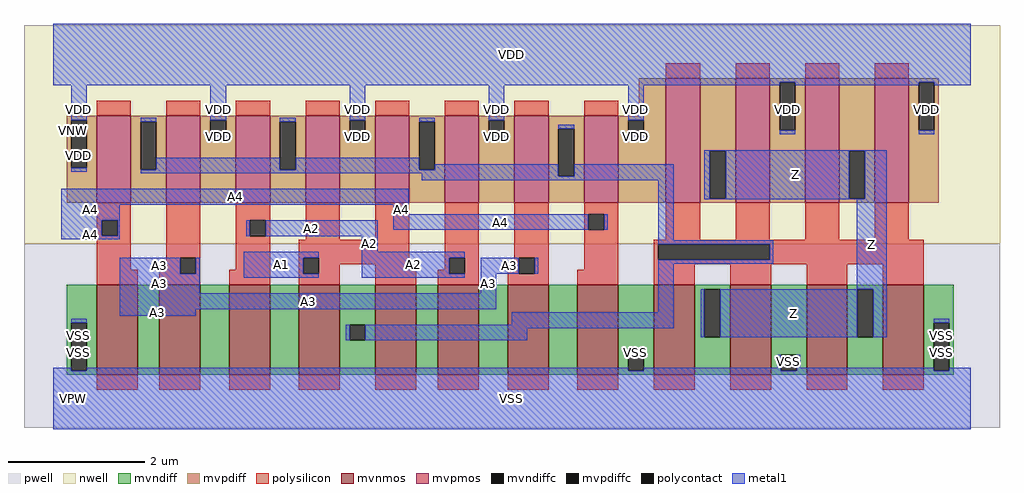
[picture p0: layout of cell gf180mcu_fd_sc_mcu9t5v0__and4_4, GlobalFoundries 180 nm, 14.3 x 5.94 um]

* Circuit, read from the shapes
.subckt gf180mcu_fd_sc_mcu9t5v0__and4_4 A1 A2 A3 A4 Z VDD VNW VPW VSS
XM1 n1 A4 VSS VPW nfet_06v0 w=1.32u l=0.6u
XM2 n2 A3 n1 VPW nfet_06v0 w=1.32u l=0.6u
XM3 n3 A2 n2 VPW nfet_06v0 w=1.32u l=0.6u
XM4 n4 A1 n3 VPW nfet_06v0 w=1.32u l=0.6u
XM5 n5 A1 n4 VPW nfet_06v0 w=1.32u l=0.6u
XM6 n6 A2 n5 VPW nfet_06v0 w=1.32u l=0.6u
XM7 n7 A3 n6 VPW nfet_06v0 w=1.32u l=0.6u
XM8 VSS A4 n7 VPW nfet_06v0 w=1.32u l=0.6u
XM9 Z n4 VSS VPW nfet_06v0 w=1.32u l=0.6u m=4
XM10 n4 A4 VDD VNW pfet_06v0 w=1.28u l=0.5u m=2
XM11 VDD A3 n4 VNW pfet_06v0 w=1.28u l=0.5u m=2
XM12 n4 A2 VDD VNW pfet_06v0 w=1.28u l=0.5u m=2
XM13 VDD A1 n4 VNW pfet_06v0 w=1.28u l=0.5u m=2
XM14 Z n4 VDD VNW pfet_06v0 w=1.83u l=0.5u m=4
.ends

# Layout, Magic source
magic
tech gf180mcuD
magscale 1 10
<< nwell >>
rect -86 453 2774 1094
<< pwell >>
rect -86 -86 2774 453
<< mvnmos >>
rect 127 69 247 333
rect 311 69 431 333
rect 515 69 635 333
rect 719 69 839 333
rect 943 69 1063 333
rect 1127 69 1247 333
rect 1331 69 1451 333
rect 1535 69 1655 333
rect 1759 69 1879 333
rect 1983 69 2103 333
rect 2207 69 2327 333
rect 2431 69 2551 333
<< mvpmos >>
rect 127 573 227 829
rect 331 573 431 829
rect 535 573 635 829
rect 739 573 839 829
rect 943 573 1043 829
rect 1147 573 1247 829
rect 1351 573 1451 829
rect 1555 573 1655 829
rect 1795 573 1895 939
rect 1999 573 2099 939
rect 2203 573 2303 939
rect 2407 573 2507 939
<< mvndiff >>
rect 39 222 127 333
rect 39 82 52 222
rect 98 82 127 222
rect 39 69 127 82
rect 247 69 311 333
rect 431 69 515 333
rect 635 69 719 333
rect 839 216 943 333
rect 839 170 868 216
rect 914 170 943 216
rect 839 69 943 170
rect 1063 69 1127 333
rect 1247 69 1331 333
rect 1451 69 1535 333
rect 1655 128 1759 333
rect 1655 82 1684 128
rect 1730 82 1759 128
rect 1655 69 1759 82
rect 1879 320 1983 333
rect 1879 180 1908 320
rect 1954 180 1983 320
rect 1879 69 1983 180
rect 2103 128 2207 333
rect 2103 82 2132 128
rect 2178 82 2207 128
rect 2103 69 2207 82
rect 2327 320 2431 333
rect 2327 180 2356 320
rect 2402 180 2431 320
rect 2327 69 2431 180
rect 2551 222 2639 333
rect 2551 82 2580 222
rect 2626 82 2639 222
rect 2551 69 2639 82
<< mvpdiff >>
rect 1715 829 1795 939
rect 39 816 127 829
rect 39 676 52 816
rect 98 676 127 816
rect 39 573 127 676
rect 227 811 331 829
rect 227 671 256 811
rect 302 671 331 811
rect 227 573 331 671
rect 431 816 535 829
rect 431 770 460 816
rect 506 770 535 816
rect 431 573 535 770
rect 635 811 739 829
rect 635 671 664 811
rect 710 671 739 811
rect 635 573 739 671
rect 839 816 943 829
rect 839 770 868 816
rect 914 770 943 816
rect 839 573 943 770
rect 1043 811 1147 829
rect 1043 671 1072 811
rect 1118 671 1147 811
rect 1043 573 1147 671
rect 1247 816 1351 829
rect 1247 770 1276 816
rect 1322 770 1351 816
rect 1247 573 1351 770
rect 1451 791 1555 829
rect 1451 651 1480 791
rect 1526 651 1555 791
rect 1451 573 1555 651
rect 1655 816 1795 829
rect 1655 770 1684 816
rect 1730 770 1795 816
rect 1655 573 1795 770
rect 1895 726 1999 939
rect 1895 586 1924 726
rect 1970 586 1999 726
rect 1895 573 1999 586
rect 2099 926 2203 939
rect 2099 786 2128 926
rect 2174 786 2203 926
rect 2099 573 2203 786
rect 2303 726 2407 939
rect 2303 586 2332 726
rect 2378 586 2407 726
rect 2303 573 2407 586
rect 2507 926 2595 939
rect 2507 786 2536 926
rect 2582 786 2595 926
rect 2507 573 2595 786
<< mvndiffc >>
rect 52 82 98 222
rect 868 170 914 216
rect 1684 82 1730 128
rect 1908 180 1954 320
rect 2132 82 2178 128
rect 2356 180 2402 320
rect 2580 82 2626 222
<< mvpdiffc >>
rect 52 676 98 816
rect 256 671 302 811
rect 460 770 506 816
rect 664 671 710 811
rect 868 770 914 816
rect 1072 671 1118 811
rect 1276 770 1322 816
rect 1480 651 1526 791
rect 1684 770 1730 816
rect 1924 586 1970 726
rect 2128 786 2174 926
rect 2332 586 2378 726
rect 2536 786 2582 926
<< polysilicon >>
rect 1795 939 1895 983
rect 1999 939 2099 983
rect 2203 939 2303 983
rect 2407 939 2507 983
rect 127 829 227 873
rect 331 829 431 873
rect 535 829 635 873
rect 739 829 839 873
rect 943 829 1043 873
rect 1147 829 1247 873
rect 1351 829 1451 873
rect 1555 829 1655 873
rect 127 523 227 573
rect 127 477 142 523
rect 188 477 227 523
rect 127 377 227 477
rect 331 412 431 573
rect 331 377 372 412
rect 127 333 247 377
rect 311 366 372 377
rect 418 366 431 412
rect 535 522 635 573
rect 535 476 576 522
rect 622 476 635 522
rect 535 377 635 476
rect 739 465 839 573
rect 943 465 1043 573
rect 311 333 431 366
rect 515 333 635 377
rect 719 412 1043 465
rect 719 366 732 412
rect 778 393 1043 412
rect 778 366 839 393
rect 719 333 839 366
rect 943 377 1043 393
rect 1147 412 1247 573
rect 1147 377 1160 412
rect 943 333 1063 377
rect 1127 366 1160 377
rect 1206 366 1247 412
rect 1351 412 1451 573
rect 1351 377 1364 412
rect 1127 333 1247 366
rect 1331 366 1364 377
rect 1410 366 1451 412
rect 1555 540 1655 573
rect 1555 494 1568 540
rect 1614 494 1655 540
rect 1555 377 1655 494
rect 1795 465 1895 573
rect 1999 465 2099 573
rect 2203 465 2303 573
rect 2407 465 2507 573
rect 1331 333 1451 366
rect 1535 333 1655 377
rect 1759 452 2551 465
rect 1759 406 1772 452
rect 2100 406 2551 452
rect 1759 393 2551 406
rect 1759 333 1879 393
rect 1983 333 2103 393
rect 2207 333 2327 393
rect 2431 333 2551 393
rect 127 25 247 69
rect 311 25 431 69
rect 515 25 635 69
rect 719 25 839 69
rect 943 25 1063 69
rect 1127 25 1247 69
rect 1331 25 1451 69
rect 1535 25 1655 69
rect 1759 25 1879 69
rect 1983 25 2103 69
rect 2207 25 2327 69
rect 2431 25 2551 69
<< polycontact >>
rect 142 477 188 523
rect 372 366 418 412
rect 576 476 622 522
rect 732 366 778 412
rect 1160 366 1206 412
rect 1364 366 1410 412
rect 1568 494 1614 540
rect 1772 406 2100 452
<< metal1 >>
rect 0 926 2688 1098
rect 0 918 2128 926
rect 52 816 98 918
rect 52 665 98 676
rect 256 811 302 822
rect 460 816 506 918
rect 460 759 506 770
rect 664 811 710 822
rect 302 671 664 706
rect 868 816 914 918
rect 868 759 914 770
rect 1072 811 1118 822
rect 710 671 1072 706
rect 1276 816 1322 918
rect 1684 816 1730 918
rect 1276 759 1322 770
rect 1480 791 1526 802
rect 1118 671 1480 686
rect 256 660 1480 671
rect 1080 651 1480 660
rect 2174 918 2536 926
rect 2128 775 2174 786
rect 2582 918 2688 926
rect 2536 775 2582 786
rect 1684 759 1730 770
rect 1908 726 2442 728
rect 1526 651 1818 686
rect 1080 640 1818 651
rect 23 568 1042 614
rect 23 523 194 568
rect 23 477 142 523
rect 188 477 194 523
rect 996 540 1042 568
rect 23 466 194 477
rect 565 476 576 522
rect 622 476 950 522
rect 996 494 1568 540
rect 1614 494 1625 540
rect 904 430 950 476
rect 1772 463 1818 640
rect 1908 586 1924 726
rect 1970 586 2332 726
rect 2378 586 2442 726
rect 1908 584 2442 586
rect 1772 452 2110 463
rect 558 412 778 430
rect 195 366 372 412
rect 418 366 429 412
rect 195 308 429 366
rect 558 366 732 412
rect 558 354 778 366
rect 904 412 1206 430
rect 904 366 1160 412
rect 904 354 1206 366
rect 1252 366 1364 412
rect 1410 366 1421 412
rect 2100 406 2110 452
rect 1772 395 2110 406
rect 1252 308 1298 366
rect 195 262 1298 308
rect 195 242 418 262
rect 1772 252 1818 395
rect 2354 320 2442 584
rect 52 222 98 233
rect 0 82 52 90
rect 1343 216 1818 252
rect 857 170 868 216
rect 914 206 1818 216
rect 914 170 1388 206
rect 1897 180 1908 320
rect 1954 180 2356 320
rect 2402 180 2442 320
rect 2580 222 2626 233
rect 1684 128 1730 139
rect 98 82 1684 90
rect 2121 90 2132 128
rect 1730 82 2132 90
rect 2178 90 2189 128
rect 2178 82 2580 90
rect 2626 82 2688 90
rect 0 -90 2688 82
<< labels >>
flabel metal1 s 558 354 778 430 0 FreeSans 200 0 0 0 A1
port 1 nsew default input
flabel metal1 s 565 476 950 522 0 FreeSans 200 0 0 0 A2
port 2 nsew default input
flabel metal1 s 1252 366 1421 412 0 FreeSans 200 0 0 0 A3
port 3 nsew default input
flabel metal1 s 23 568 1042 614 0 FreeSans 200 0 0 0 A4
port 4 nsew default input
flabel metal1 s 0 918 2688 1098 0 FreeSans 200 0 0 0 VDD
port 6 nsew power bidirectional abutment
flabel metal1 s 2580 139 2626 233 0 FreeSans 200 0 0 0 VSS
port 9 nsew ground bidirectional abutment
flabel metal1 s 1908 584 2442 728 0 FreeSans 200 0 0 0 Z
port 5 nsew default output
flabel nwell s 10 734 110 834 0 FreeSans 400 0 0 0 VNW
port 7 nsew power bidirectional
flabel pwell s 10 -50 110 50 0 FreeSans 400 0 0 0 VPW
port 8 nsew ground bidirectional
rlabel metal1 s 904 430 950 476 1 A2
port 2 nsew default input
rlabel metal1 s 904 354 1206 430 1 A2
port 2 nsew default input
rlabel metal1 s 195 366 429 412 1 A3
port 3 nsew default input
rlabel metal1 s 1252 308 1298 366 1 A3
port 3 nsew default input
rlabel metal1 s 195 308 429 366 1 A3
port 3 nsew default input
rlabel metal1 s 195 262 1298 308 1 A3
port 3 nsew default input
rlabel metal1 s 195 242 418 262 1 A3
port 3 nsew default input
rlabel metal1 s 996 540 1042 568 1 A4
port 4 nsew default input
rlabel metal1 s 23 540 194 568 1 A4
port 4 nsew default input
rlabel metal1 s 996 494 1625 540 1 A4
port 4 nsew default input
rlabel metal1 s 23 494 194 540 1 A4
port 4 nsew default input
rlabel metal1 s 23 466 194 494 1 A4
port 4 nsew default input
rlabel metal1 s 2354 320 2442 584 1 Z
port 5 nsew default output
rlabel metal1 s 1897 180 2442 320 1 Z
port 5 nsew default output
rlabel metal1 s 2536 775 2582 918 1 VDD
port 6 nsew power bidirectional abutment
rlabel metal1 s 2128 775 2174 918 1 VDD
port 6 nsew power bidirectional abutment
rlabel metal1 s 1684 775 1730 918 1 VDD
port 6 nsew power bidirectional abutment
rlabel metal1 s 1276 775 1322 918 1 VDD
port 6 nsew power bidirectional abutment
rlabel metal1 s 868 775 914 918 1 VDD
port 6 nsew power bidirectional abutment
rlabel metal1 s 460 775 506 918 1 VDD
port 6 nsew power bidirectional abutment
rlabel metal1 s 52 775 98 918 1 VDD
port 6 nsew power bidirectional abutment
rlabel metal1 s 1684 759 1730 775 1 VDD
port 6 nsew power bidirectional abutment
rlabel metal1 s 1276 759 1322 775 1 VDD
port 6 nsew power bidirectional abutment
rlabel metal1 s 868 759 914 775 1 VDD
port 6 nsew power bidirectional abutment
rlabel metal1 s 460 759 506 775 1 VDD
port 6 nsew power bidirectional abutment
rlabel metal1 s 52 759 98 775 1 VDD
port 6 nsew power bidirectional abutment
rlabel metal1 s 52 665 98 759 1 VDD
port 6 nsew power bidirectional abutment
rlabel metal1 s 52 139 98 233 1 VSS
port 9 nsew ground bidirectional abutment
rlabel metal1 s 2580 128 2626 139 1 VSS
port 9 nsew ground bidirectional abutment
rlabel metal1 s 1684 128 1730 139 1 VSS
port 9 nsew ground bidirectional abutment
rlabel metal1 s 52 128 98 139 1 VSS
port 9 nsew ground bidirectional abutment
rlabel metal1 s 2580 90 2626 128 1 VSS
port 9 nsew ground bidirectional abutment
rlabel metal1 s 2121 90 2189 128 1 VSS
port 9 nsew ground bidirectional abutment
rlabel metal1 s 1684 90 1730 128 1 VSS
port 9 nsew ground bidirectional abutment
rlabel metal1 s 52 90 98 128 1 VSS
port 9 nsew ground bidirectional abutment
rlabel metal1 s 0 -90 2688 90 1 VSS
port 9 nsew ground bidirectional abutment
<< properties >>
string FIXED_BBOX 0 0 2688 1008
string GDS_END 1165222
string GDS_FILE $PDKPATH/libs.ref/gf180mcu_fd_sc_mcu9t5v0/gds/gf180mcu_fd_sc_mcu9t5v0.gds
string GDS_START 1158726
string LEFclass core
string LEFsite GF018hv5v_green_sc9
string LEFsymmetry X Y
<< end >>
